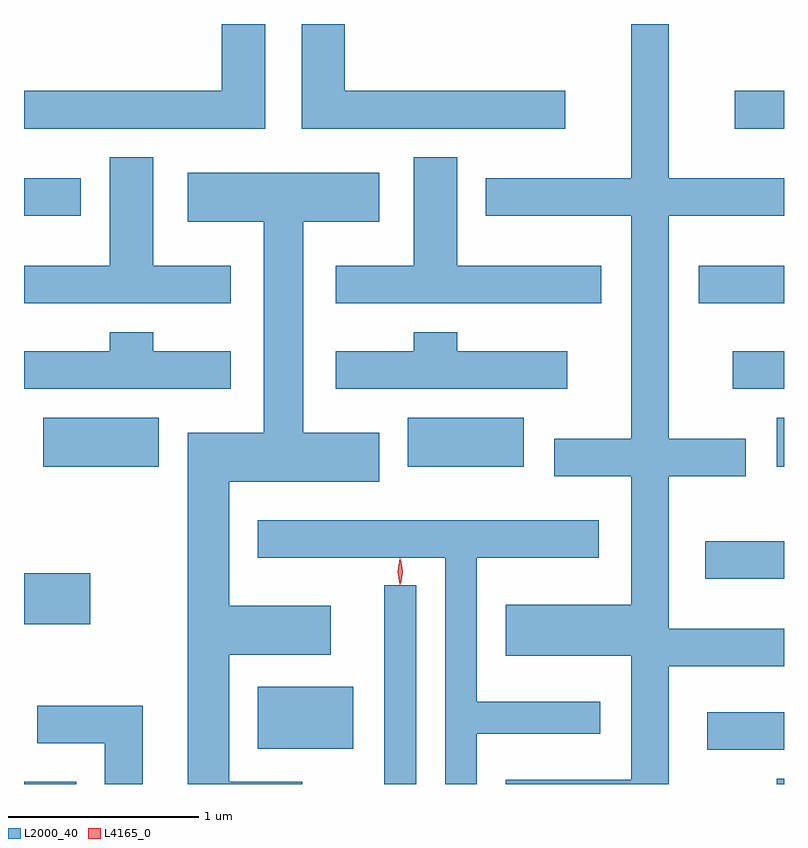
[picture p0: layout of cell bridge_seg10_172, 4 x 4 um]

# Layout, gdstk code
import gdstk
lib = gdstk.Library(unit=1e-6, precision=1e-09)
def R(c, l, rs):  # rectangles x0, y0, x1, y1
    for r in rs: c.add(gdstk.rectangle(r[:2], r[2:], *l))
def P(c, l, *ps):  # polygons
    for p in ps: c.add(gdstk.Polygon(p, *l))
L2000_40 = (2000, 40)
L4165_0 = (4165, 0)

bridge_seg10_172 = lib.new_cell('bridge_seg10_172')
R(bridge_seg10_172, L2000_40, [(1816.055,2141.126,1816.329,2141.139), (1817.951,2141.126,1818.119,2142.173), (1820.016,2141.126,1820.055,2141.154), (1819.651,2141.306,1820.055,2141.504), (1817.286,2141.311,1817.789,2141.639), (1816.055,2141.966,1816.404,2142.234), (1819.641,2142.206,1820.055,2142.404), (1816.156,2142.796,1816.764,2143.054), (1818.076,2142.796,1818.684,2143.054), (1820.016,2142.796,1820.055,2143.054), (1819.786,2143.206,1820.055,2143.404), (1819.606,2143.656,1820.055,2143.854), (1816.055,2144.116,1816.354,2144.314), (1819.796,2144.576,1820.055,2144.774)])
P(bridge_seg10_172, L2000_40, [(1818.904,2144.774),(1817.744,2144.774),(1817.744,2145.126),(1817.516,2145.126),(1817.516,2144.576),(1818.904,2144.576)],
  [(1819.449,2141.746),(1820.055,2141.746),(1820.055,2141.944),(1819.449,2141.944),(1819.449,2142.746),(1819.854,2142.746),(1819.854,2142.944),(1819.449,2142.944),(1819.449,2144.116),(1820.055,2144.116),(1820.055,2144.314),(1819.449,2144.314),(1819.449,2145.126),(1819.251,2145.126),(1819.251,2144.314),(1818.486,2144.314),(1818.486,2144.116),(1819.251,2144.116),(1819.251,2142.944),(1818.846,2142.944),(1818.846,2142.746),(1819.251,2142.746),(1819.251,2142.069),(1818.591,2142.069),(1818.591,2141.801),(1819.251,2141.801),(1819.251,2141.149),(1818.591,2141.149),(1818.591,2141.126),(1819.449,2141.126)],
  [(1817.324,2145.126),(1817.096,2145.126),(1817.096,2144.774),(1816.055,2144.774),(1816.055,2144.576),(1817.324,2144.576)],
  [(1817.144,2143.854),(1816.734,2143.854),(1816.734,2144.424),(1816.506,2144.424),(1816.506,2143.854),(1816.055,2143.854),(1816.055,2143.656),(1817.144,2143.656)],
  [(1819.094,2143.854),(1818.334,2143.854),(1818.334,2144.424),(1818.106,2144.424),(1818.106,2143.854),(1817.696,2143.854),(1817.696,2143.656),(1819.094,2143.656)],
  [(1817.519,2141.139),(1817.134,2141.139),(1817.134,2141.806),(1817.669,2141.806),(1817.669,2142.064),(1817.134,2142.064),(1817.134,2142.716),(1817.924,2142.716),(1817.924,2142.974),(1817.524,2142.974),(1817.524,2144.086),(1817.924,2144.086),(1817.924,2144.344),(1816.916,2144.344),(1816.916,2144.086),(1817.316,2144.086),(1817.316,2142.974),(1816.916,2142.974),(1816.916,2141.126),(1817.519,2141.126)],
  [(1818.914,2143.404),(1818.334,2143.404),(1818.334,2143.504),(1818.106,2143.504),(1818.106,2143.404),(1817.696,2143.404),(1817.696,2143.206),(1818.914,2143.206)],
  [(1817.144,2143.404),(1816.734,2143.404),(1816.734,2143.504),(1816.506,2143.504),(1816.506,2143.404),(1816.055,2143.404),(1816.055,2143.206),(1817.144,2143.206)],
  [(1818.439,2141.391),(1819.088,2141.391),(1819.088,2141.559),(1818.439,2141.559),(1818.439,2142.316),(1819.079,2142.316),(1819.079,2142.514),(1817.286,2142.514),(1817.286,2142.316),(1818.271,2142.316),(1818.271,2141.126),(1818.439,2141.126)],
  [(1816.679,2141.539),(1816.126,2141.539),(1816.126,2141.341),(1816.481,2141.341),(1816.481,2141.126),(1816.679,2141.126)])
P(bridge_seg10_172, L4165_0, [(1818.032,2142.174),(1818.032,2142.175),(1818.022,2142.244),(1818.032,2142.313),(1818.032,2142.314),(1818.033,2142.313),(1818.042,2142.244),(1818.033,2142.175)],
  [(1818.037,2142.178),(1818.037,2142.178),(1818.028,2142.244),(1818.037,2142.31),(1818.038,2142.311),(1818.038,2142.31),(1818.048,2142.244),(1818.038,2142.178)])

lib.write_gds('bridge_seg10_172.gds')
